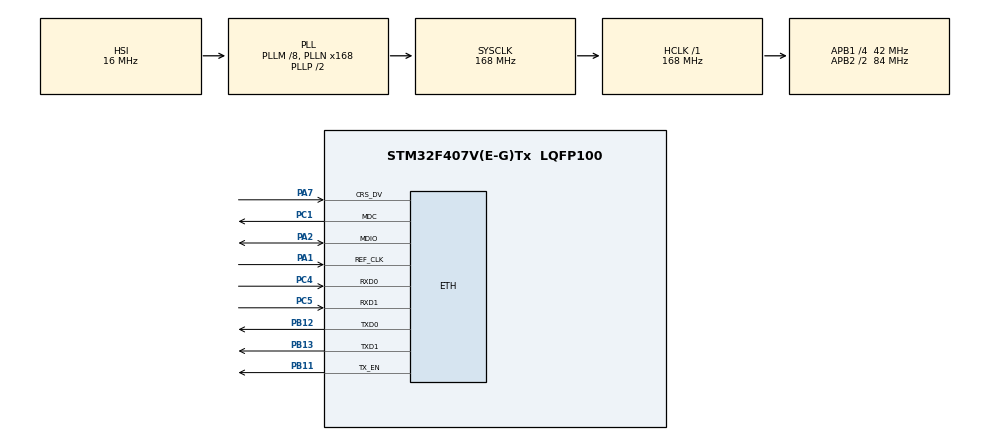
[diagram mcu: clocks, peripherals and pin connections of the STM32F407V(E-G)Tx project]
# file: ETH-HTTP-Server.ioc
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ETH.AutoNegotiation=ETH_AUTONEGOTIATION_DISABLE
ETH.MediaInterface=ETH_MEDIA_INTERFACE_RMII
ETH.PHY_Name_RMII=DP83848_PHY_ADDRESS
LWIP.GATEWAY_ADDRESS=192.168.100.001
LWIP.IP_ADDRESS=192.168.100.200
LWIP.LWIP_DHCP=0
LWIP.LWIP_HTTPD=1
LWIP.LWIP_HTTPD_CGI=1
LWIP.LWIP_HTTPD_CGI_SSI=0
LWIP.LWIP_HTTPD_SSI=1
LWIP.MEM_SIZE=10240
LWIP.NETMASK_ADDRESS=255.255.255.000
LWIP.PBUF_POOL_BUFSIZE=1534
LWIP.TCP_MSS=1460
LWIP.Version=v2.1.2_Cube
Mcu.Family=STM32F4
Mcu.Name=STM32F407V(E-G)Tx
Mcu.Package=LQFP100
NVIC.PriorityGroup=NVIC_PRIORITYGROUP_4
PA1.Mode=RMII
PA1.Signal=ETH_REF_CLK
PA2.Mode=RMII
PA2.Signal=ETH_MDIO
PA7.Mode=RMII
PA7.Signal=ETH_CRS_DV
PB11.Mode=RMII
PB11.Signal=ETH_TX_EN
PB12.Mode=RMII
PB12.Signal=ETH_TXD0
PB13.Mode=RMII
PB13.Signal=ETH_TXD1
PC1.Mode=RMII
PC1.Signal=ETH_MDC
PC4.Mode=RMII
PC4.Signal=ETH_RXD0
PC5.Mode=RMII
PC5.Signal=ETH_RXD1
ProjectManager.HeapSize=0x200
ProjectManager.StackSize=0x400
ProjectManager.TargetToolchain=MDK-ARM V5.27
RCC.48MHZClocksFreq_Value=84000000
RCC.AHBFreq_Value=168000000
RCC.APB1CLKDivider=RCC_HCLK_DIV4
RCC.APB1Freq_Value=42000000
RCC.APB1TimFreq_Value=84000000
RCC.APB2CLKDivider=RCC_HCLK_DIV2
RCC.APB2Freq_Value=84000000
RCC.APB2TimFreq_Value=168000000
RCC.CortexFreq_Value=168000000
RCC.HCLKFreq_Value=168000000
RCC.HSE_VALUE=25000000
RCC.HSI_VALUE=16000000
RCC.LSE_VALUE=32768
RCC.PLLM=8
RCC.PLLN=168
RCC.SYSCLKFreq_VALUE=168000000
RCC.SYSCLKSource=RCC_SYSCLKSOURCE_PLLCLK
RCC.VCOOutputFreq_Value=336000000
VP_LWIP_VS_Enabled.Mode=Enabled
board=custom

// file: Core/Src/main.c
/* USER CODE BEGIN Header */
/**
  ******************************************************************************
  * @file           : main.c
  * @brief          : Main program body
  ******************************************************************************
  * @attention
  *
  * <h2><center>&copy; Copyright (c) 2024 STMicroelectronics.
  * All rights reserved.</center></h2>
  *
  * This software component is licensed by ST under Ultimate Liberty license
  * SLA0044, the "License"; You may not use this file except in compliance with
  * the License. You may obtain a copy of the License at:
  *                             www.st.com/SLA0044
  *
  ******************************************************************************
  */
/* USER CODE END Header */
#include "main.h"
#include "lwip.h"
#include "gpio.h"

/* USER CODE BEGIN Includes */
#include "lwip/apps/httpd.h"
/* USER CODE END Includes */

/* USER CODE BEGIN PTD */
typedef enum {
  Http_SSI_Tag_Timestamp,
  Http_SSI_Tag_Len,
} Http_SSI_Tag;
/* USER CODE END PTD */

/* USER CODE BEGIN PV */
static const char* SSI_TAGS[Http_SSI_Tag_Len] = {
  [Http_SSI_Tag_Timestamp] = "ts",
};
/* USER CODE END PV */

void SystemClock_Config(void);
/* USER CODE BEGIN PFP */
u16_t Http_onSSI(
#if LWIP_HTTPD_SSI_RAW
                             const char* ssi_tag_name,
#else /* LWIP_HTTPD_SSI_RAW */
                             int iIndex,
#endif /* LWIP_HTTPD_SSI_RAW */
                             char *pcInsert, int iInsertLen
#if LWIP_HTTPD_SSI_MULTIPART
                             , u16_t current_tag_part, u16_t *next_tag_part
#endif /* LWIP_HTTPD_SSI_MULTIPART */
#if defined(LWIP_HTTPD_FILE_STATE) && LWIP_HTTPD_FILE_STATE
                             , void *connection_state
#endif /* LWIP_HTTPD_FILE_STATE */
                             );
/* USER CODE END PFP */

int main(void)
{

  /* MCU Configuration--------------------------------------------------------*/

  /* Reset of all peripherals, Initializes the Flash interface and the Systick. */
  HAL_Init();

  /* Configure the system clock */
  SystemClock_Config();

  /* Initialize all configured peripherals */
  MX_GPIO_Init();
  MX_LWIP_Init();
  /* USER CODE BEGIN 2 */
  httpd_init();

  http_set_ssi_handler(Http_onSSI, SSI_TAGS, Http_SSI_Tag_Len);
  /* USER CODE END 2 */

  /* Infinite loop */
  /* USER CODE BEGIN WHILE */
  while (1)
  {
    MX_LWIP_Process();
    /* USER CODE END WHILE */

  }
}

void SystemClock_Config(void)
{
  RCC_OscInitTypeDef RCC_OscInitStruct = {0};
  RCC_ClkInitTypeDef RCC_ClkInitStruct = {0};

  /** Configure the main internal regulator output voltage
  */
  __HAL_RCC_PWR_CLK_ENABLE();
  __HAL_PWR_VOLTAGESCALING_CONFIG(PWR_REGULATOR_VOLTAGE_SCALE1);
  /** Initializes the RCC Oscillators according to the specified parameters
  * in the RCC_OscInitTypeDef structure.
  */
  RCC_OscInitStruct.OscillatorType = RCC_OSCILLATORTYPE_HSI;
  RCC_OscInitStruct.HSIState = RCC_HSI_ON;
  RCC_OscInitStruct.HSICalibrationValue = RCC_HSICALIBRATION_DEFAULT;
  RCC_OscInitStruct.PLL.PLLState = RCC_PLL_ON;
  RCC_OscInitStruct.PLL.PLLSource = RCC_PLLSOURCE_HSI;
  RCC_OscInitStruct.PLL.PLLM = 8;
  RCC_OscInitStruct.PLL.PLLN = 168;
  RCC_OscInitStruct.PLL.PLLP = RCC_PLLP_DIV2;
  RCC_OscInitStruct.PLL.PLLQ = 4;
  if (HAL_RCC_OscConfig(&RCC_OscInitStruct) != HAL_OK)
  {
    Error_Handler();
  }
  /** Initializes the CPU, AHB and APB buses clocks
  */
  RCC_ClkInitStruct.ClockType = RCC_CLOCKTYPE_HCLK|RCC_CLOCKTYPE_SYSCLK
                              |RCC_CLOCKTYPE_PCLK1|RCC_CLOCKTYPE_PCLK2;
  RCC_ClkInitStruct.SYSCLKSource = RCC_SYSCLKSOURCE_PLLCLK;
  RCC_ClkInitStruct.AHBCLKDivider = RCC_SYSCLK_DIV1;
  RCC_ClkInitStruct.APB1CLKDivider = RCC_HCLK_DIV4;
  RCC_ClkInitStruct.APB2CLKDivider = RCC_HCLK_DIV2;

  if (HAL_RCC_ClockConfig(&RCC_ClkInitStruct, FLASH_LATENCY_5) != HAL_OK)
  {
    Error_Handler();
  }
}

/* USER CODE BEGIN 4 */
u16_t Http_onSSI(
#if LWIP_HTTPD_SSI_RAW
                             const char* ssi_tag_name,
#else /* LWIP_HTTPD_SSI_RAW */
                             int iIndex,
#endif /* LWIP_HTTPD_SSI_RAW */
                             char *pcInsert, int iInsertLen
#if LWIP_HTTPD_SSI_MULTIPART
                             , u16_t current_tag_part, u16_t *next_tag_part
#endif /* LWIP_HTTPD_SSI_MULTIPART */
#if defined(LWIP_HTTPD_FILE_STATE) && LWIP_HTTPD_FILE_STATE
                             , void *connection_state
#endif /* LWIP_HTTPD_FILE_STATE */
                             )
{
  uint16_t len = 0;
  switch ((Http_SSI_Tag) iIndex) {
    case Http_SSI_Tag_Timestamp:
      len = snprintf(pcInsert, iInsertLen - 1, "%u", HAL_GetTick());
      break;
    default:
      break;
  }

  return len;
}
/* USER CODE END 4 */

void Error_Handler(void)
{
  __disable_irq();
  while (1)
  {
  }
}

/************************ (C) COPYRIGHT STMicroelectronics *****END OF FILE****/
